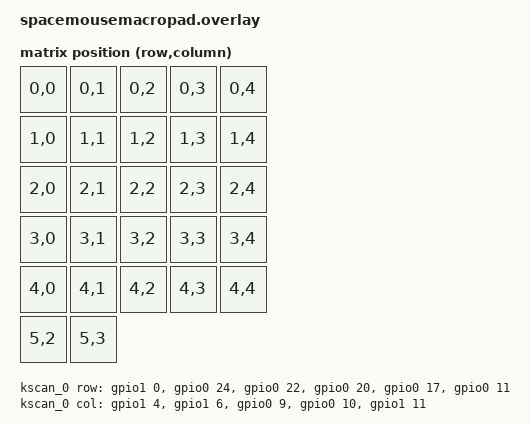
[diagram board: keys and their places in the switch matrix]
/* boards/shields/spacemousemacropad/spacemousemacropad.overlay */
#include <zmk/matrix_transform.dtsi>

/ {
    chosen {
        zmk,physical-layout = &default_layout;
    };

    kscan_0: kscan_0 {
        compatible = "zmk,kscan-gpio-matrix";
        diode-direction = "col2row";
        
        /* 6 Row GPIOs: p1.00, p0.24, p0.22, p0.20, p0.17, p0.11 */
        row-gpios
            = <&gpio1 0 GPIO_ACTIVE_HIGH>   // Row 1 (p1.00)
            , <&gpio0 24 GPIO_ACTIVE_HIGH>  // Row 2 (p0.24)
            , <&gpio0 22 GPIO_ACTIVE_HIGH>  // Row 3 (p0.22)
            , <&gpio0 20 GPIO_ACTIVE_HIGH>  // Row 4 (p0.20)
            , <&gpio0 17 GPIO_ACTIVE_HIGH>  // Row 5 (p0.17)
            , <&gpio0 11 GPIO_ACTIVE_HIGH>  // Row 6 (p0.11)
            ;
        
        col-gpios 
            = <&gpio1 4 (GPIO_ACTIVE_HIGH | GPIO_PULL_DOWN)>   // Col 1 (p1.04)
            , <&gpio1 6 (GPIO_ACTIVE_HIGH | GPIO_PULL_DOWN)>   // Col 2 (p1.06)
            , <&gpio0 9 (GPIO_ACTIVE_HIGH | GPIO_PULL_DOWN)>   // Col 3 (p0.09)
            , <&gpio0 10 (GPIO_ACTIVE_HIGH | GPIO_PULL_DOWN)>  // Col 4 (p0.10)
            , <&gpio1 11 (GPIO_ACTIVE_HIGH | GPIO_PULL_DOWN)>  // Col 5 (p1.11)
            ;
    };

    default_transform: default_transform {
        compatible = "zmk,matrix-transform";
        columns = <5>;
        rows = <6>;

        map = <
            RC(0,0) RC(0,1) RC(0,2) RC(0,3) RC(0,4)
            RC(1,0) RC(1,1) RC(1,2) RC(1,3) RC(1,4)
            RC(2,0) RC(2,1) RC(2,2) RC(2,3) RC(2,4)
            RC(3,0) RC(3,1) RC(3,2) RC(3,3) RC(3,4)
            RC(4,0) RC(4,1) RC(4,2) RC(4,3) RC(4,4)
            RC(5,2) RC(5,3)
        >;
    };

    default_layout: default_layout {
        compatible = "zmk,physical-layout";
        kscan = <&kscan_0>;
        transform = <&default_transform>;
    };
};
